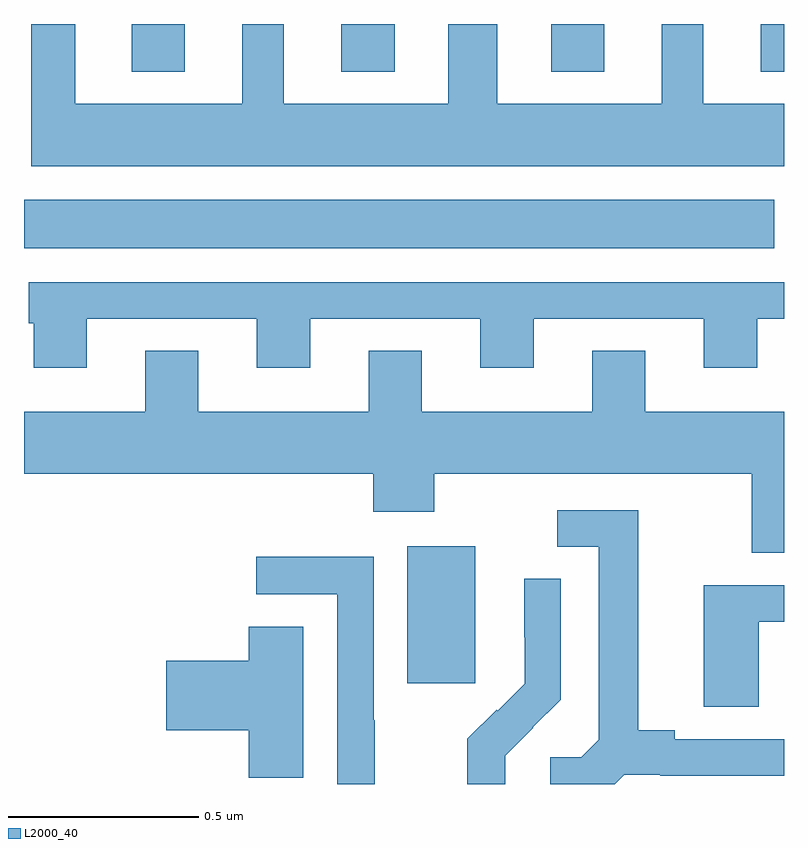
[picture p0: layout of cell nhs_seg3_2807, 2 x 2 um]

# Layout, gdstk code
import gdstk
lib = gdstk.Library(unit=1e-6, precision=1e-09)
def R(c, l, rs):  # rectangles x0, y0, x1, y1
    for r in rs: c.add(gdstk.rectangle(r[:2], r[2:], *l))
def A(c, l, x, y, w, h, nx, ny, dx, dy):  # array of equal rectangles
    R(c, l, [(x+i*dx, y+j*dy, x+i*dx+w, y+j*dy+h) for i in range(nx) for j in range(ny)])
def P(c, l, *ps):  # polygons
    for p in ps: c.add(gdstk.Polygon(p, *l))
L2000_40 = (2000, 40)

nhs_seg3_2807 = lib.new_cell('nhs_seg3_2807')
A(nhs_seg3_2807, L2000_40, 145.283, 735.275, 0.14, 0.125, 3, 1, 0.552, 0)
R(nhs_seg3_2807, L2000_40, [(146.009,733.665,146.188,734.026), (145,734.81,146.974,734.938), (146.939,735.275,147,735.4)])
P(nhs_seg3_2807, L2000_40, [(147,735.19),(146.788,735.19),(146.788,735.4),(146.678,735.4),(146.678,735.19),(146.245,735.19),(146.245,735.4),(146.117,735.4),(146.117,735.19),(145.684,735.19),(145.684,735.4),(145.574,735.4),(145.574,735.19),(145.135,735.19),(145.135,735.4),(145.019,735.4),(145.019,735.026),(147,735.026)],
  [(145.165,734.625),(145.613,734.625),(145.613,734.496),(145.753,734.496),(145.753,734.625),(146.201,734.625),(146.201,734.496),(146.341,734.496),(146.341,734.625),(146.789,734.625),(146.789,734.496),(146.929,734.496),(146.929,734.625),(147,734.625),(147,734.721),(145.013,734.721),(145.013,734.613),(145.025,734.613),(145.025,734.496),(145.165,734.496)],
  [(147,734.38),(146.635,734.38),(146.635,734.54),(146.495,734.54),(146.495,734.38),(146.047,734.38),(146.047,734.54),(145.907,734.54),(145.907,734.38),(145.459,734.38),(145.459,734.54),(145.319,734.54),(145.319,734.38),(145,734.38),(145,734.216),(145.919,734.216),(145.919,734.117),(146.079,734.117),(146.079,734.216),(146.915,734.216),(146.915,734.008),(147,734.008)],
  [(146.58,733.425),(146.674,733.425),(146.674,733.422),(147,733.422),(147,733.518),(146.713,733.518),(146.713,733.541),(146.617,733.541),(146.617,734.121),(146.403,734.121),(146.403,734.025),(146.513,734.025),(146.513,733.517),(146.466,733.47),(146.385,733.47),(146.385,733.4),(146.555,733.4)],
  [(145.923,733.568),(145.92,733.568),(145.92,733.998),(145.611,733.998),(145.611,733.899),(145.824,733.899),(145.824,733.4),(145.923,733.4)],
  [(146.266,733.474),(146.34,733.548),(146.339,733.549),(146.412,733.622),(146.412,733.94),(146.316,733.94),(146.316,733.786),(146.318,733.786),(146.318,733.664),(146.247,733.593),(146.244,733.596),(146.167,733.519),(146.167,733.4),(146.266,733.4)],
  [(146.934,733.827),(147,733.827),(147,733.923),(146.789,733.923),(146.789,733.603),(146.934,733.603)],
  [(145.735,733.814),(145.592,733.814),(145.592,733.724),(145.374,733.724),(145.374,733.541),(145.592,733.541),(145.592,733.417),(145.735,733.417)])

lib.write_gds('nhs_seg3_2807.gds')
